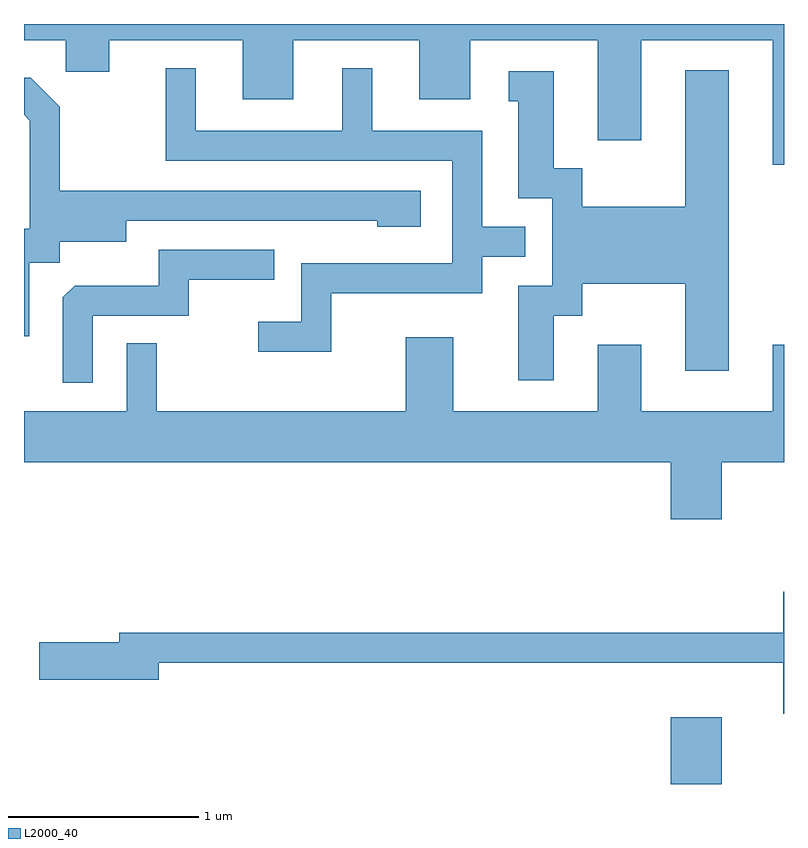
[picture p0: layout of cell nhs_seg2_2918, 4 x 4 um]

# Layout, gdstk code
import gdstk
lib = gdstk.Library(unit=1e-6, precision=1e-09)
def R(c, l, rs):  # rectangles x0, y0, x1, y1
    for r in rs: c.add(gdstk.rectangle(r[:2], r[2:], *l))
def P(c, l, *ps):  # polygons
    for p in ps: c.add(gdstk.Polygon(p, *l))
L2000_40 = (2000, 40)

nhs_seg2_2918 = lib.new_cell('nhs_seg2_2918')
R(nhs_seg2_2918, L2000_40, [(275.016,977.802,275.284,978.154)])
P(nhs_seg2_2918, L2000_40, [(275.611,981.802),(271.611,981.802),(271.611,981.716),(271.831,981.716),(271.831,981.551),(272.059,981.551),(272.059,981.716),(272.761,981.716),(272.761,981.406),(273.029,981.406),(273.029,981.716),(273.691,981.716),(273.691,981.406),(273.959,981.406),(273.959,981.716),(274.631,981.716),(274.631,981.191),(274.859,981.191),(274.859,981.716),(275.551,981.716),(275.551,981.061),(275.611,981.061)],
  [(273.229,980.386),(274.024,980.386),(274.024,980.576),(274.248,980.576),(274.248,980.734),(274.024,980.734),(274.024,981.239),(273.444,981.239),(273.444,981.568),(273.286,981.568),(273.286,981.239),(272.514,981.239),(272.514,981.568),(272.356,981.568),(272.356,981.081),(273.866,981.081),(273.866,980.544),(273.071,980.544),(273.071,980.234),(272.843,980.234),(272.843,980.076),(273.229,980.076)],
  [(274.399,980.266),(274.549,980.266),(274.549,980.436),(275.091,980.436),(275.091,979.976),(275.319,979.976),(275.319,981.559),(275.091,981.559),(275.091,980.839),(274.549,980.839),(274.549,981.044),(274.399,981.044),(274.399,981.554),(274.163,981.554),(274.163,981.396),(274.211,981.396),(274.211,980.886),(274.391,980.886),(274.391,980.424),(274.211,980.424),(274.211,979.926),(274.399,979.926)],
  [(271.639,980.546),(271.799,980.546),(271.799,980.656),(272.149,980.656),(272.149,980.766),(273.471,980.766),(273.471,980.736),(273.699,980.736),(273.699,980.924),(271.799,980.924),(271.799,981.367),(271.647,981.519),(271.611,981.519),(271.611,981.324),(271.641,981.294),(271.641,980.724),(271.611,980.724),(271.611,980.158),(271.639,980.158)],
  [(271.974,980.266),(272.479,980.266),(272.479,980.456),(272.928,980.456),(272.928,980.614),(272.321,980.614),(272.321,980.424),(271.877,980.424),(271.816,980.364),(271.816,979.913),(271.974,979.913)],
  [(275.284,979.496),(275.611,979.496),(275.611,980.114),(275.551,980.114),(275.551,979.764),(274.859,979.764),(274.859,980.114),(274.631,980.114),(274.631,979.764),(273.869,979.764),(273.869,980.154),(273.621,980.154),(273.621,979.764),(272.309,979.764),(272.309,980.123),(272.151,980.123),(272.151,979.764),(271.611,979.764),(271.611,979.496),(275.016,979.496),(275.016,979.196),(275.284,979.196)],
  [(275.611,978.814),(275.606,978.814),(275.606,978.599),(272.111,978.599),(272.111,978.549),(271.691,978.549),(271.691,978.351),(272.319,978.351),(272.319,978.441),(275.606,978.441),(275.606,978.171),(275.611,978.171)])

lib.write_gds('nhs_seg2_2918.gds')
